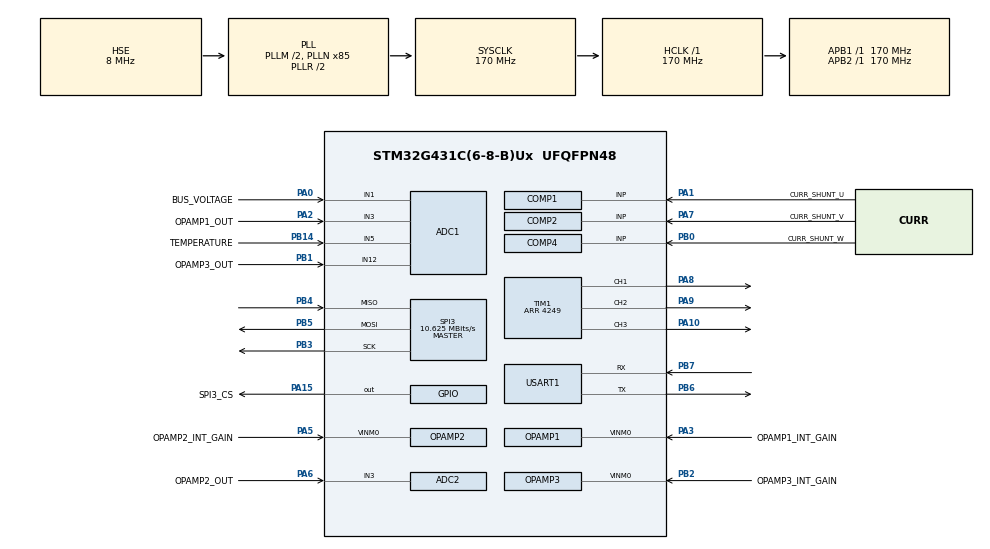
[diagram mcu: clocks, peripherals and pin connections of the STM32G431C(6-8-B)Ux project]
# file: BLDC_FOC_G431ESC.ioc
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ADC1.ClockPrescaler=ADC_CLOCK_ASYNC_DIV1
ADC1.DataAlign=ADC_DATAALIGN_RIGHT
ADC1.EnableInjectedConversion=ENABLE
ADC1.EnableRegularConversion=DISABLE
ADC1.ExternalTrigInjecConv=ADC_EXTERNALTRIGINJEC_T1_CC4
ADC1.InjNumberOfConversion=2
ADC1.InjectedChannel-1\#ChannelInjectedConversion=ADC_CHANNEL_3
ADC1.InjectedChannel-2\#ChannelInjectedConversion=ADC_CHANNEL_12
ADC1.InjectedOffsetNumber-1\#ChannelInjectedConversion=ADC_OFFSET_NONE
ADC1.InjectedOffsetNumber-2\#ChannelInjectedConversion=ADC_OFFSET_NONE
ADC1.InjectedRank-1\#ChannelInjectedConversion=1
ADC1.InjectedRank-2\#ChannelInjectedConversion=2
ADC1.InjectedSamplingTime-1\#ChannelInjectedConversion=ADC_SAMPLETIME_6CYCLES_5
ADC1.InjectedSamplingTime-2\#ChannelInjectedConversion=ADC_SAMPLETIME_6CYCLES_5
ADC1.Rank1_Channel=ADC_CHANNEL_3
ADC1.Rank2_Channel=ADC_CHANNEL_12
ADC1.master=1
ADC2.Channel-0\#ChannelRegularConversion=ADC_CHANNEL_VOPAMP3_ADC2
ADC2.Channel-1\#ChannelRegularConversion=ADC_CHANNEL_3
ADC2.ClockPrescaler=ADC_CLOCK_ASYNC_DIV1
ADC2.NbrOfConversion=2
ADC2.NbrOfConversionFlag=1
ADC2.OffsetNumber-0\#ChannelRegularConversion=ADC_OFFSET_NONE
ADC2.OffsetNumber-1\#ChannelRegularConversion=ADC_OFFSET_NONE
ADC2.Rank-0\#ChannelRegularConversion=1
ADC2.Rank-1\#ChannelRegularConversion=2
ADC2.SamplingTime-0\#ChannelRegularConversion=ADC_SAMPLETIME_6CYCLES_5
ADC2.SamplingTime-1\#ChannelRegularConversion=ADC_SAMPLETIME_6CYCLES_5
DAC3.DAC_Channel-DAC_OUT2_Int=DAC_CHANNEL_2
Dma.Request0=SPI3_RX
Dma.Request1=SPI3_TX
Dma.SPI3_RX.0.Direction=DMA_PERIPH_TO_MEMORY
Dma.SPI3_RX.0.EventEnable=DISABLE
Dma.SPI3_RX.0.Instance=DMA1_Channel1
Dma.SPI3_RX.0.MemDataAlignment=DMA_MDATAALIGN_BYTE
Dma.SPI3_RX.0.MemInc=DMA_MINC_ENABLE
Dma.SPI3_RX.0.Mode=DMA_NORMAL
Dma.SPI3_RX.0.PeriphDataAlignment=DMA_PDATAALIGN_BYTE
Dma.SPI3_RX.0.PeriphInc=DMA_PINC_DISABLE
Dma.SPI3_RX.0.Polarity=HAL_DMAMUX_REQ_GEN_RISING
Dma.SPI3_RX.0.Priority=DMA_PRIORITY_MEDIUM
Dma.SPI3_RX.0.RequestNumber=1
Dma.SPI3_RX.0.SignalID=NONE
Dma.SPI3_RX.0.SyncEnable=DISABLE
Dma.SPI3_RX.0.SyncPolarity=HAL_DMAMUX_SYNC_NO_EVENT
Dma.SPI3_RX.0.SyncRequestNumber=1
Dma.SPI3_RX.0.SyncSignalID=NONE
Dma.SPI3_TX.1.Direction=DMA_MEMORY_TO_PERIPH
Dma.SPI3_TX.1.EventEnable=DISABLE
Dma.SPI3_TX.1.Instance=DMA1_Channel2
Dma.SPI3_TX.1.MemDataAlignment=DMA_MDATAALIGN_BYTE
Dma.SPI3_TX.1.MemInc=DMA_MINC_ENABLE
Dma.SPI3_TX.1.Mode=DMA_NORMAL
Dma.SPI3_TX.1.PeriphDataAlignment=DMA_PDATAALIGN_BYTE
Dma.SPI3_TX.1.PeriphInc=DMA_PINC_DISABLE
Dma.SPI3_TX.1.Polarity=HAL_DMAMUX_REQ_GEN_RISING
Dma.SPI3_TX.1.Priority=DMA_PRIORITY_MEDIUM
Dma.SPI3_TX.1.RequestNumber=1
Dma.SPI3_TX.1.SignalID=NONE
Dma.SPI3_TX.1.SyncEnable=DISABLE
Dma.SPI3_TX.1.SyncPolarity=HAL_DMAMUX_SYNC_NO_EVENT
Dma.SPI3_TX.1.SyncRequestNumber=1
Dma.SPI3_TX.1.SyncSignalID=NONE
Mcu.Family=STM32G4
Mcu.Name=STM32G431C(6-8-B)Ux
Mcu.Package=UFQFPN48
NVIC.ADC1_2_IRQn=true\:1\:0\:true\:false\:true\:true\:true\:true
NVIC.DMA1_Channel1_IRQn=true\:1\:0\:true\:false\:true\:false\:true\:true
NVIC.DMA1_Channel2_IRQn=true\:1\:0\:true\:false\:true\:false\:true\:true
NVIC.PriorityGroup=NVIC_PRIORITYGROUP_4
NVIC.TIM1_UP_TIM16_IRQn=true\:0\:0\:false\:false\:true\:true\:true\:true
NVIC.TIM2_IRQn=true\:2\:0\:true\:false\:true\:true\:true\:true
NVIC.TIM3_IRQn=true\:3\:0\:true\:false\:true\:true\:true\:true
NVIC.TIM4_IRQn=true\:1\:0\:true\:false\:true\:true\:true\:true
NVIC.USART1_IRQn=true\:5\:0\:true\:false\:true\:true\:true\:true
OPAMP1.PgaGain=OPAMP_PGA_GAIN_16_OR_MINUS_15
OPAMP2.PgaGain=OPAMP_PGA_GAIN_16_OR_MINUS_15
OPAMP3.PgaGain=OPAMP_PGA_GAIN_16_OR_MINUS_15
PA0.GPIO_Label=BUS_VOLTAGE
PA0.Mode=IN1-Single-Ended
PA0.Signal=ADC1_IN1
PA1.GPIO_Label=CURR_SHUNT_U
PA1.Signal=SharedAnalog_PA1
PA10.Signal=S_TIM1_CH3
PA13.Mode=Serial_Wire
PA13.Signal=SYS_JTMS-SWDIO
PA14.Mode=Serial_Wire
PA14.Signal=SYS_JTCK-SWCLK
PA15.GPIO_Label=SPI3_CS
PA15.Signal=GPIO_Output
PA2.GPIO_Label=OPAMP1_OUT
PA2.Signal=SharedAnalog_PA2
PA3.GPIO_Label=OPAMP1_INT_GAIN
PA3.Mode=PGA Connected-INVERTINGINPUT_IO0_BIAS
PA3.Signal=OPAMP1_VINM0
PA5.GPIO_Label=OPAMP2_INT_GAIN
PA5.Mode=PGA Connected-INVERTINGINPUT_IO0_BIAS
PA5.Signal=OPAMP2_VINM0
PA6.GPIO_Label=OPAMP2_OUT
PA6.Signal=SharedAnalog_PA6
PA7.GPIO_Label=CURR_SHUNT_V
PA7.Signal=SharedAnalog_PA7
PA8.Signal=S_TIM1_CH1
PA9.Signal=S_TIM1_CH2
PB0.GPIO_Label=CURR_SHUNT_W
PB0.Signal=SharedAnalog_PB0
PB1.GPIO_Label=OPAMP3_OUT
PB1.Signal=SharedAnalog_PB1
PB14.GPIO_Label=TEMPERATURE
PB14.Mode=IN5-Single-Ended
PB14.Signal=ADC1_IN5
PB2.GPIO_Label=OPAMP3_INT_GAIN
PB2.Mode=PGA Internally connected_IO0_IO1_BIAS
PB2.Signal=OPAMP3_VINM0
PB3.Mode=Full_Duplex_Master
PB3.Signal=SPI3_SCK
PB4.Mode=Full_Duplex_Master
PB4.Signal=SPI3_MISO
PB5.Mode=Full_Duplex_Master
PB5.Signal=SPI3_MOSI
PB6.Mode=Asynchronous
PB6.Signal=USART1_TX
PB7.Mode=Asynchronous
PB7.Signal=USART1_RX
PF0-OSC_IN.Mode=HSE-External-Oscillator
PF0-OSC_IN.Signal=RCC_OSC_IN
PF1-OSC_OUT.Mode=HSE-External-Oscillator
PF1-OSC_OUT.Signal=RCC_OSC_OUT
ProjectManager.HeapSize=0x200
ProjectManager.StackSize=0x400
ProjectManager.TargetToolchain=STM32CubeIDE
RCC.ADC12CLockSelection=RCC_ADC12CLKSOURCE_PLL
RCC.ADC12Freq_Value=42500000
RCC.AHBFreq_Value=170000000
RCC.APB1Freq_Value=170000000
RCC.APB1TimFreq_Value=170000000
RCC.APB2Freq_Value=170000000
RCC.APB2TimFreq_Value=170000000
RCC.CortexFreq_Value=170000000
RCC.EXTERNAL_CLOCK_VALUE=12288000
RCC.HCLKFreq_Value=170000000
RCC.HSE_VALUE=8000000
RCC.HSI48_VALUE=48000000
RCC.HSI_VALUE=16000000
RCC.LSE_VALUE=32768
RCC.PLLM=RCC_PLLM_DIV2
RCC.PLLN=85
RCC.PLLP=RCC_PLLP_DIV8
RCC.PLLSourceVirtual=RCC_PLLSOURCE_HSE
RCC.PREFETCH_ENABLE=1
RCC.SYSCLKFreq_VALUE=170000000
RCC.SYSCLKSource=RCC_SYSCLKSOURCE_PLLCLK
RCC.USBFreq_Value=170000000
RCC.VCOOutputFreq_Value=340000000
SH.S_TIM1_CH1.0=TIM1_CH1,PWM Generation1 CH1
SH.S_TIM1_CH2.0=TIM1_CH2,PWM Generation2 CH2
SH.S_TIM1_CH3.0=TIM1_CH3,PWM Generation3 CH3
SH.SharedAnalog_PA1.0=COMP1_INP,INP
SH.SharedAnalog_PA1.1=OPAMP1_VINP,PGA Connected-INVERTINGINPUT_IO0_BIAS
SH.SharedAnalog_PA2.0=ADC1_IN3,IN3-Single-Ended
SH.SharedAnalog_PA2.1=OPAMP1_VOUT,PGA Connected-INVERTINGINPUT_IO0_BIAS
SH.SharedAnalog_PA6.0=ADC2_IN3,IN3-Single-Ended
SH.SharedAnalog_PA6.1=OPAMP2_VOUT,PGA Connected-INVERTINGINPUT_IO0_BIAS
SH.SharedAnalog_PA7.0=COMP2_INP,INP
SH.SharedAnalog_PA7.1=OPAMP2_VINP,PGA Connected-INVERTINGINPUT_IO0_BIAS
SH.SharedAnalog_PB0.0=COMP4_INP,INP
SH.SharedAnalog_PB0.1=OPAMP3_VINP,PGA Internally connected_IO0_IO1_BIAS
SH.SharedAnalog_PB1.0=OPAMP3_VOUT
SH.SharedAnalog_PB1.1=ADC1_IN12,IN12-Single-Ended
SPI3.BaudRatePrescaler=SPI_BAUDRATEPRESCALER_16
SPI3.CLKPhase=SPI_PHASE_2EDGE
SPI3.CalculateBaudRate=10.625 MBits/s
SPI3.DataSize=SPI_DATASIZE_8BIT
SPI3.Direction=SPI_DIRECTION_2LINES
SPI3.Mode=SPI_MODE_MASTER
SPI3.VirtualType=VM_MASTER
TIM1.Channel-PWM\ Generation1\ CH1=TIM_CHANNEL_1
TIM1.Channel-PWM\ Generation2\ CH2=TIM_CHANNEL_2
TIM1.Channel-PWM\ Generation3\ CH3=TIM_CHANNEL_3
TIM1.Channel-PWM\ Generation4\ No\ Output=TIM_CHANNEL_4
TIM1.CounterMode=TIM_COUNTERMODE_CENTERALIGNED3
TIM1.OCMode_PWM-PWM\ Generation4\ No\ Output=TIM_OCMODE_PWM2
TIM1.PeriodNoDither=4249
TIM1.PulseNoDither_4=4150
TIM1.TIM_MasterOutputTrigger=TIM_TRGO_UPDATE
TIM1.TIM_MasterOutputTrigger2=TIM_TRGO2_OC4REF
TIM15.PeriodNoDither=199
TIM2.PeriodNoDither=39
TIM3.PeriodNoDither=9999
TIM3.Prescaler=169
TIM4.PeriodNoDither=3
USART1.VirtualMode-Asynchronous=VM_ASYNC
VP_ADC2_OPAMP_INTERNAL3.Mode=IN-OPAMP3
VP_COMP1_VS_DAC3OUT1.Mode=INM_DAC3OUT1
VP_COMP2_VS_DAC3OUT2.Mode=INM_DAC3OUT2
VP_COMP4_VS_DAC3OUT2.Mode=INM_DAC3OUT2
VP_DAC3_VS_DACI1.Mode=DAC_OUT1_Int
VP_DAC3_VS_DACI2.Mode=DAC_OUT2_Int
VP_SYS_VS_DBSignals.Mode=DisableDeadBatterySignals
VP_TIM15_VS_ClockSourceITR.Mode=TriggerSource_ITR0
VP_TIM15_VS_ControllerModeClock.Mode=Clock Mode
VP_TIM1_VS_ClockSourceINT.Mode=Internal
VP_TIM1_VS_no_output4.Mode=PWM Generation4 No Output
VP_TIM2_VS_ClockSourceITR.Mode=TriggerSource_ITR0
VP_TIM2_VS_ControllerModeClock.Mode=Clock Mode
VP_TIM3_VS_ClockSourceINT.Mode=Internal
VP_TIM4_VS_ClockSourceITR.Mode=TriggerSource_ITR0
VP_TIM4_VS_ControllerModeClock.Mode=Clock Mode
board=custom

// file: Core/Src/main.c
/* USER CODE BEGIN Header */
/**
  ******************************************************************************
  * @file           : main.c
  * @brief          : Main program body
  ******************************************************************************
  * @attention
  *
  * Copyright (c) 2026 STMicroelectronics.
  * All rights reserved.
  *
  * This software is licensed under terms that can be found in the LICENSE file
  * in the root directory of this software component.
  * If no LICENSE file comes with this software, it is provided AS-IS.
  *
  ******************************************************************************
  */
/* USER CODE END Header */
#include "main.h"
#include "adc.h"
#include "comp.h"
#include "dac.h"
#include "dma.h"
#include "opamp.h"
#include "spi.h"
#include "tim.h"
#include "usart.h"
#include "gpio.h"

/* USER CODE BEGIN Includes */
#include "FOC/foc_loop.h"
#include "App/commander.h"
#include "App/motor_control.h"
#include <stdio.h>
/* USER CODE END Includes */

void SystemClock_Config(void);

/* USER CODE BEGIN 0 */
int __io_putchar(int ch)
{
    uint8_t buf[2];
    uint16_t len = 0;

    if (ch == '\n')
        buf[len++] = '\r';

    buf[len++] = (uint8_t)ch;

    HAL_UART_Transmit(&huart1, buf, len, HAL_MAX_DELAY);
    return 1;
}
/* USER CODE END 0 */

int main(void)
{

  /* MCU Configuration--------------------------------------------------------*/

  /* Reset of all peripherals, Initializes the Flash interface and the Systick. */
  HAL_Init();

  /* Configure the system clock */
  SystemClock_Config();

  /* Initialize all configured peripherals */
  MX_GPIO_Init();
  MX_DMA_Init();
  MX_ADC1_Init();
  MX_TIM1_Init();
  MX_TIM2_Init();
  MX_TIM3_Init();
  MX_TIM4_Init();
  MX_TIM15_Init();
  MX_SPI3_Init();
  MX_USART1_UART_Init();
  MX_ADC2_Init();
  MX_COMP1_Init();
  MX_COMP2_Init();
  MX_COMP4_Init();
  MX_DAC3_Init();
  MX_OPAMP1_Init();
  MX_OPAMP2_Init();
  MX_OPAMP3_Init();
  /* USER CODE BEGIN 2 */
	FOC_Init(&hadc1, &htim1, &htim4, &hspi3);
	Commander_Init(&huart1);
	MotorControl_Init(&htim2, &htim15, &htim3);
  /* USER CODE END 2 */

  /* Infinite loop */
  while (1)
  {

    /* USER CODE BEGIN 3 */
//	  static uint32_t last_tick = 0;
//
//	  if (HAL_GetTick() - last_tick >= 1000)
//	  {
//	      last_tick = HAL_GetTick();
//	      printf("Hello! Tick: %lu\r\n", HAL_GetTick());
//	  }
  }
  /* USER CODE END 3 */
}

void SystemClock_Config(void)
{
  RCC_OscInitTypeDef RCC_OscInitStruct = {0};
  RCC_ClkInitTypeDef RCC_ClkInitStruct = {0};

  /** Configure the main internal regulator output voltage
  */
  HAL_PWREx_ControlVoltageScaling(PWR_REGULATOR_VOLTAGE_SCALE1_BOOST);

  /** Initializes the RCC Oscillators according to the specified parameters
  * in the RCC_OscInitTypeDef structure.
  */
  RCC_OscInitStruct.OscillatorType = RCC_OSCILLATORTYPE_HSE;
  RCC_OscInitStruct.HSEState = RCC_HSE_ON;
  RCC_OscInitStruct.PLL.PLLState = RCC_PLL_ON;
  RCC_OscInitStruct.PLL.PLLSource = RCC_PLLSOURCE_HSE;
  RCC_OscInitStruct.PLL.PLLM = RCC_PLLM_DIV2;
  RCC_OscInitStruct.PLL.PLLN = 85;
  RCC_OscInitStruct.PLL.PLLP = RCC_PLLP_DIV8;
  RCC_OscInitStruct.PLL.PLLQ = RCC_PLLQ_DIV2;
  RCC_OscInitStruct.PLL.PLLR = RCC_PLLR_DIV2;
  if (HAL_RCC_OscConfig(&RCC_OscInitStruct) != HAL_OK)
  {
    Error_Handler();
  }

  /** Initializes the CPU, AHB and APB buses clocks
  */
  RCC_ClkInitStruct.ClockType = RCC_CLOCKTYPE_HCLK|RCC_CLOCKTYPE_SYSCLK
                              |RCC_CLOCKTYPE_PCLK1|RCC_CLOCKTYPE_PCLK2;
  RCC_ClkInitStruct.SYSCLKSource = RCC_SYSCLKSOURCE_PLLCLK;
  RCC_ClkInitStruct.AHBCLKDivider = RCC_SYSCLK_DIV1;
  RCC_ClkInitStruct.APB1CLKDivider = RCC_HCLK_DIV1;
  RCC_ClkInitStruct.APB2CLKDivider = RCC_HCLK_DIV1;

  if (HAL_RCC_ClockConfig(&RCC_ClkInitStruct, FLASH_LATENCY_4) != HAL_OK)
  {
    Error_Handler();
  }
}

void Error_Handler(void)
{
  __disable_irq();
  while (1)
  {
  }
}
